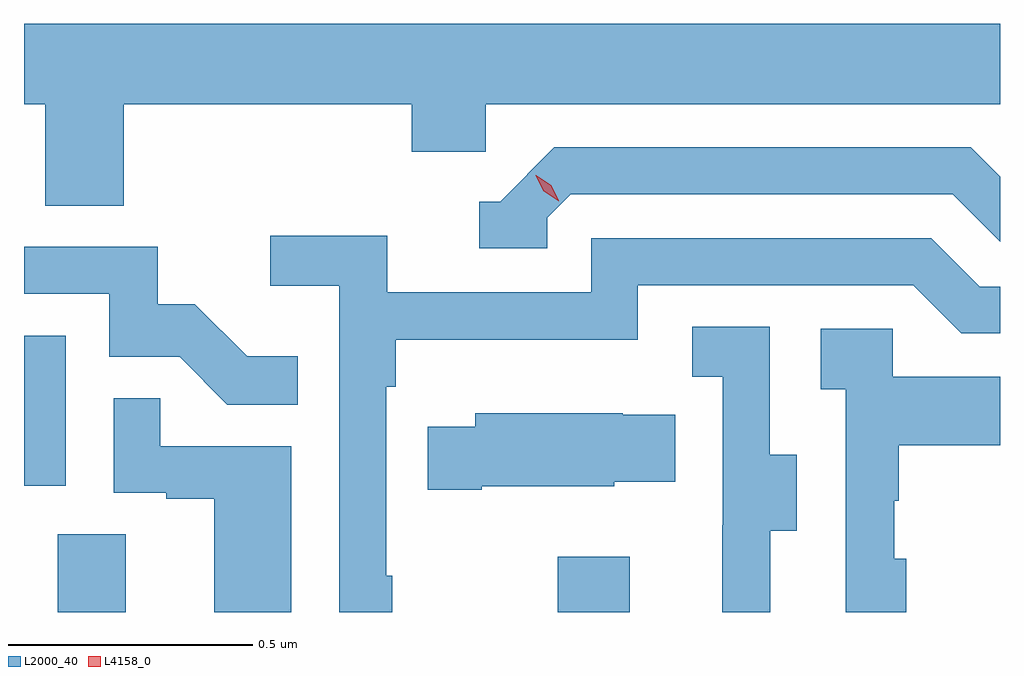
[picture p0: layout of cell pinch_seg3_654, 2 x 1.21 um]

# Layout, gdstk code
import gdstk
lib = gdstk.Library(unit=1e-6, precision=1e-09)
def R(c, l, rs):  # rectangles x0, y0, x1, y1
    for r in rs: c.add(gdstk.rectangle(r[:2], r[2:], *l))
def P(c, l, *ps):  # polygons
    for p in ps: c.add(gdstk.Polygon(p, *l))
L2000_40 = (2000, 40)
L4158_0 = (4158, 0)

pinch_seg3_654 = lib.new_cell('pinch_seg3_654')
R(pinch_seg3_654, L2000_40, [(1041.701,683.891,1041.841,684.05), (1042.726,683.891,1042.873,684.004), (1041.632,684.15,1041.718,684.457)])
P(pinch_seg3_654, L2000_40, [(1041.836,684.932),(1042.427,684.932),(1042.427,684.834),(1042.578,684.834),(1042.578,684.932),(1043.632,684.932),(1043.632,685.096),(1041.632,685.096),(1041.632,684.932),(1041.676,684.932),(1041.676,684.724),(1041.836,684.724)],
  [(1042.704,684.699),(1042.752,684.747),(1043.535,684.747),(1043.632,684.65),(1043.632,684.783),(1043.572,684.843),(1042.719,684.843),(1042.608,684.732),(1042.565,684.732),(1042.565,684.636),(1042.704,684.636)],
  [(1042.387,683.965),(1042.374,683.965),(1042.374,684.353),(1042.394,684.353),(1042.394,684.449),(1042.89,684.449),(1042.89,684.561),(1043.454,684.561),(1043.553,684.462),(1043.632,684.462),(1043.632,684.558),(1043.59,684.558),(1043.491,684.657),(1042.794,684.657),(1042.794,684.546),(1042.376,684.546),(1042.376,684.662),(1042.137,684.662),(1042.137,684.56),(1042.278,684.56),(1042.278,683.891),(1042.387,683.891)],
  [(1042.193,684.415),(1042.089,684.415),(1041.982,684.522),(1041.906,684.522),(1041.906,684.639),(1041.632,684.639),(1041.632,684.543),(1041.807,684.543),(1041.807,684.414),(1041.951,684.414),(1042.049,684.316),(1042.193,684.316)],
  [(1043.161,684.058),(1043.215,684.058),(1043.215,684.213),(1043.16,684.213),(1043.16,684.476),(1043.001,684.476),(1043.001,684.373),(1043.064,684.373),(1043.064,684.069),(1043.063,684.069),(1043.063,683.891),(1043.161,683.891)],
  [(1043.44,684),(1043.415,684),(1043.415,684.119),(1043.425,684.119),(1043.425,684.233),(1043.632,684.233),(1043.632,684.373),(1043.412,684.373),(1043.412,684.471),(1043.265,684.471),(1043.265,684.347),(1043.316,684.347),(1043.316,683.891),(1043.44,683.891)],
  [(1042.18,684.231),(1041.911,684.231),(1041.911,684.329),(1041.816,684.329),(1041.816,684.135),(1041.923,684.135),(1041.923,684.123),(1042.022,684.123),(1042.022,683.891),(1042.18,683.891)],
  [(1042.57,684.149),(1042.842,684.149),(1042.842,684.158),(1042.967,684.158),(1042.967,684.295),(1042.859,684.295),(1042.859,684.298),(1042.557,684.298),(1042.557,684.271),(1042.459,684.271),(1042.459,684.142),(1042.57,684.142)])
P(pinch_seg3_654, L4158_0, [(1042.728,684.733),(1042.697,684.753),(1042.681,684.785),(1042.681,684.786),(1042.682,684.786),(1042.712,684.766),(1042.728,684.734),(1042.728,684.733)])

lib.write_gds('pinch_seg3_654.gds')
